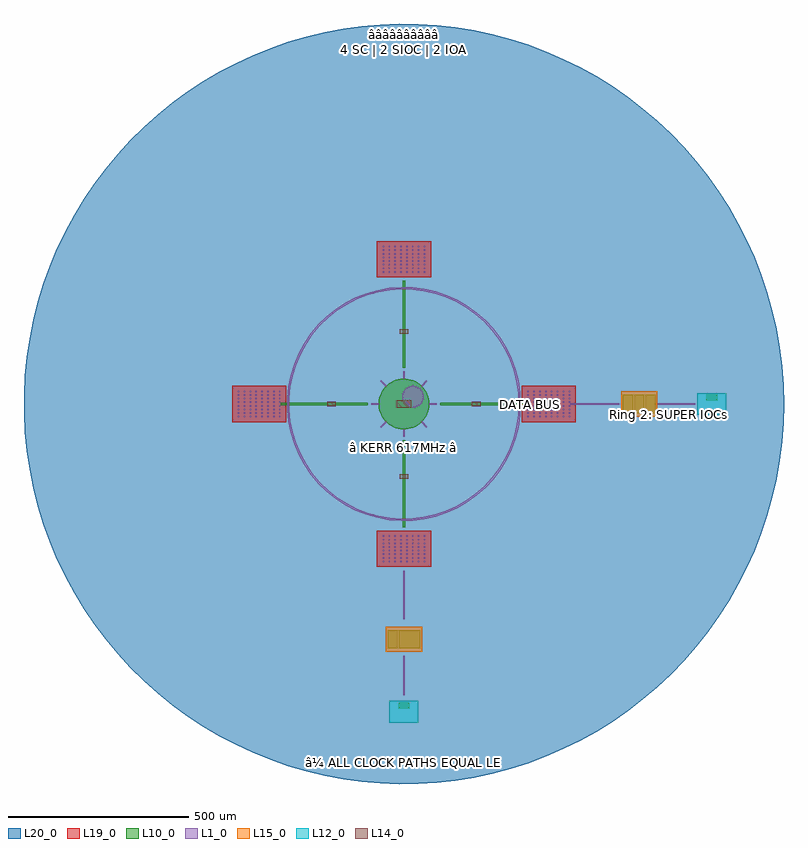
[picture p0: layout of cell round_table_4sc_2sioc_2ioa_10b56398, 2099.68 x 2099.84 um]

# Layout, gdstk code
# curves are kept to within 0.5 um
import gdstk
lib = gdstk.Library(unit=1e-6, precision=1e-09)
def R(c, l, rs):  # rectangles x0, y0, x1, y1
    for r in rs: c.add(gdstk.rectangle(r[:2], r[2:], *l))
def A(c, l, x, y, w, h, nx, ny, dx, dy):  # array of equal rectangles
    R(c, l, [(x+i*dx, y+j*dy, x+i*dx+w, y+j*dy+h) for i in range(nx) for j in range(ny)])
def P(c, l, *ps):  # polygons
    for p in ps: c.add(gdstk.Polygon(p, *l))
L1_0 = (1, 0)
L10_0 = (10, 0)
L12_0 = (12, 0)
L14_0 = (14, 0)
L15_0 = (15, 0)
L19_0 = (19, 0)
L20_0 = (20, 0)

kerr_clock_hub_bd115653 = lib.new_cell('kerr_clock_hub_bd115653')
R(kerr_clock_hub_bd115653, L1_0, [(-2,-90,2,-70), (-90,-2,-70,2), (70,-2,90,2), (-2,70,2,90)])
P(kerr_clock_hub_bd115653, L1_0, [(24.252,-9.991),(18.324,-9.248),(12.661,-7.345),(7.488,-4.358),(3.008,-0.405),(-0.599,4.357),(-3.191,9.739),(-4.963,18.505),(-4.665,24.471),(-3.191,30.261),(-0.599,35.643),(3.008,40.405),(7.488,44.358),(12.661,47.345),(18.324,49.248),(24.252,49.991),(30.209,49.544),(35.96,47.926),(41.276,45.201),(45.947,41.476),(49.787,36.9),(52.644,31.653),(54.405,25.944),(55,20),(54.405,14.056),(52.644,8.347),(49.787,3.1),(45.947,-1.476),(41.276,-5.201),(35.96,-7.926),(30.209,-9.544)],
  [(50.912,48.083),(48.083,50.912),(62.225,65.054),(65.054,62.225)],
  [(-50.912,48.083),(-65.054,62.225),(-62.225,65.054),(-48.083,50.912)],
  [(-62.225,-65.054),(-65.054,-62.225),(-50.912,-48.083),(-48.083,-50.912)],
  [(62.225,-65.054),(48.083,-50.912),(50.912,-48.083),(65.054,-62.225)])
P(kerr_clock_hub_bd115653, L10_0, [(-1.745,-69.978),(-8.704,-69.457),(-22.294,-66.355),(-35,-60.622),(-46.318,-52.485),(-55.799,-42.266),(-63.068,-30.372),(-67.835,-17.273),(-69.913,-3.489),(-69.218,10.433),(-65.778,23.941),(-59.73,36.5),(-51.314,47.612),(-40.862,56.836),(-28.79,63.805),(-15.576,68.245),(-1.745,69.978),(12.155,68.937),(25.574,65.161),(37.978,58.802),(48.877,50.111),(57.837,39.432),(64.503,27.19),(68.612,13.87),(70,0),(68.612,-13.87),(64.503,-27.19),(57.837,-39.432),(48.877,-50.111),(37.978,-58.802),(25.574,-65.161),(12.155,-68.937)])
R(kerr_clock_hub_bd115653, L14_0, [(-20,-10,20,10)])
P(kerr_clock_hub_bd115653, L20_0, [(-2.493,-99.969),(-22.252,-97.493),(-41.129,-91.151),(-50,-86.603),(-66.169,-74.978),(-79.713,-60.38),(-90.097,-43.388),(-96.908,-24.676),(-99.876,-4.985),(-98.883,14.904),(-93.969,34.202),(-85.329,52.144),(-73.305,68.017),(-58.374,81.194),(-41.129,91.151),(-22.252,97.493),(-2.493,99.969),(17.365,98.481),(36.534,93.087),(54.255,84.003),(69.824,71.587),(82.624,56.332),(92.148,38.843),(98.017,19.815),(100,0),(98.017,-19.815),(92.148,-38.843),(82.624,-56.332),(69.824,-71.587),(54.255,-84.003),(36.534,-93.087),(17.365,-98.481)])
kerr_clock_hub_bd115653.add(gdstk.Label('KERR', (25,20), layer=100, texttype=0))
kerr_clock_hub_bd115653.add(gdstk.Label('617 MHz', (0,-40), layer=100, texttype=0))
kerr_clock_hub_bd115653.add(gdstk.Label('CLOCK HUB', (0,85), layer=100, texttype=0))

sc_module_0_3802ffc2 = lib.new_cell('sc_module_0_3802ffc2')
A(sc_module_0_3802ffc2, L1_0, 16.125, 13, 4, 4, 8, 8, 16.25, 10)
R(sc_module_0_3802ffc2, L19_0, [(0,0,150,100)])
sc_module_0_3802ffc2.add(gdstk.Label('SC-0', (75,50), layer=100, texttype=0))
sc_module_0_3802ffc2.add(gdstk.Label('243Ã\x97243', (75,35), layer=100, texttype=0))

sc_module_1_ebd3c1e9 = lib.new_cell('sc_module_1_ebd3c1e9')
A(sc_module_1_ebd3c1e9, L1_0, 16.125, 13, 4, 4, 8, 8, 16.25, 10)
R(sc_module_1_ebd3c1e9, L19_0, [(0,0,150,100)])
sc_module_1_ebd3c1e9.add(gdstk.Label('SC-1', (75,50), layer=100, texttype=0))
sc_module_1_ebd3c1e9.add(gdstk.Label('243Ã\x97243', (75,35), layer=100, texttype=0))

sc_module_2_5c22a000 = lib.new_cell('sc_module_2_5c22a000')
A(sc_module_2_5c22a000, L1_0, 16.125, 13, 4, 4, 8, 8, 16.25, 10)
R(sc_module_2_5c22a000, L19_0, [(0,0,150,100)])
sc_module_2_5c22a000.add(gdstk.Label('SC-2', (75,50), layer=100, texttype=0))
sc_module_2_5c22a000.add(gdstk.Label('243Ã\x97243', (75,35), layer=100, texttype=0))

sc_module_3_e76d4291 = lib.new_cell('sc_module_3_e76d4291')
A(sc_module_3_e76d4291, L1_0, 16.125, 13, 4, 4, 8, 8, 16.25, 10)
R(sc_module_3_e76d4291, L19_0, [(0,0,150,100)])
sc_module_3_e76d4291.add(gdstk.Label('SC-3', (75,50), layer=100, texttype=0))
sc_module_3_e76d4291.add(gdstk.Label('243Ã\x97243', (75,35), layer=100, texttype=0))

sioc_slot_0_f4facfb1 = lib.new_cell('sioc_slot_0_f4facfb1')
R(sioc_slot_0_f4facfb1, L10_0, [(5,10,33.333,60), (35.833,10,64.167,60), (66.667,10,95,60)])
R(sioc_slot_0_f4facfb1, L15_0, [(0,0,100,70)])
sioc_slot_0_f4facfb1.add(gdstk.Label('WL', (19.167,35), layer=100, texttype=0))
sioc_slot_0_f4facfb1.add(gdstk.Label('AS', (50,35), layer=100, texttype=0))
sioc_slot_0_f4facfb1.add(gdstk.Label('RC', (80.833,35), layer=100, texttype=0))
sioc_slot_0_f4facfb1.add(gdstk.Label('SIOC-0', (50,65), layer=100, texttype=0))

sioc_slot_1_134355f9 = lib.new_cell('sioc_slot_1_134355f9')
R(sioc_slot_1_134355f9, L10_0, [(5,10,33.333,60), (35.833,10,64.167,60), (66.667,10,95,60)])
R(sioc_slot_1_134355f9, L15_0, [(0,0,100,70)])
sioc_slot_1_134355f9.add(gdstk.Label('WL', (19.167,35), layer=100, texttype=0))
sioc_slot_1_134355f9.add(gdstk.Label('AS', (50,35), layer=100, texttype=0))
sioc_slot_1_134355f9.add(gdstk.Label('RC', (80.833,35), layer=100, texttype=0))
sioc_slot_1_134355f9.add(gdstk.Label('SIOC-1', (50,65), layer=100, texttype=0))

ioa_slot_0_4a160fc4 = lib.new_cell('ioa_slot_0_4a160fc4')
R(ioa_slot_0_4a160fc4, L10_0, [(25,40,55,55)])
R(ioa_slot_0_4a160fc4, L12_0, [(0,0,80,60)])
ioa_slot_0_4a160fc4.add(gdstk.Label('IOA-0', (40,20), layer=100, texttype=0))
ioa_slot_0_4a160fc4.add(gdstk.Label('MODULAR', (40,10), layer=100, texttype=0))

ioa_slot_1_5a060a56 = lib.new_cell('ioa_slot_1_5a060a56')
R(ioa_slot_1_5a060a56, L10_0, [(25,40,55,55)])
R(ioa_slot_1_5a060a56, L12_0, [(0,0,80,60)])
ioa_slot_1_5a060a56.add(gdstk.Label('IOA-1', (40,20), layer=100, texttype=0))
ioa_slot_1_5a060a56.add(gdstk.Label('MODULAR', (40,10), layer=100, texttype=0))

round_table_4sc_2sioc_2i = lib.new_cell('round_table_4sc_2sioc_2ioa_10b56398')
R(round_table_4sc_2sioc_2i, L1_0, [(1048,245,1052,355), (1048,455,1052,590), (1510,1048,1645,1052), (1745,1048,1855,1052)])
P(round_table_4sc_2sioc_2i, L1_0, [(1367,1050),(1365.425,1081.563),(1371.395,1082.16),(1373,1050)],
  [(1365.425,1081.563),(1360.715,1112.812),(1366.596,1114.001),(1371.395,1082.16)],
  [(1360.715,1112.812),(1352.917,1143.437),(1358.65,1145.206),(1366.596,1114.001)],
  [(1352.917,1143.437),(1342.108,1173.134),(1347.637,1175.464),(1358.65,1145.206)],
  [(1342.108,1173.134),(1328.396,1201.607),(1333.666,1204.476),(1347.637,1175.464)],
  [(1328.396,1201.607),(1311.918,1228.572),(1316.875,1231.952),(1333.666,1204.476)],
  [(1311.918,1228.572),(1292.836,1253.764),(1297.432,1257.62),(1316.875,1231.952)],
  [(1292.836,1253.764),(1271.341,1276.93),(1275.53,1281.225),(1297.432,1257.62)],
  [(1271.341,1276.93),(1247.646,1297.841),(1251.387,1302.532),(1275.53,1281.225)],
  [(1247.646,1297.841),(1221.987,1316.288),(1225.242,1321.328),(1251.387,1302.532)],
  [(1221.987,1316.288),(1194.619,1332.089),(1197.356,1337.429),(1225.242,1321.328)],
  [(1194.619,1332.089),(1165.813,1345.087),(1168.005,1350.672),(1197.356,1337.429)],
  [(1165.813,1345.087),(1135.856,1355.152),(1137.481,1360.928),(1168.005,1350.672)],
  [(1135.856,1355.152),(1105.046,1362.184),(1106.088,1368.093),(1137.481,1360.928)],
  [(1105.046,1362.184),(1073.689,1366.114),(1074.138,1372.097),(1106.088,1368.093)],
  [(1073.689,1366.114),(1042.097,1366.901),(1041.947,1372.9),(1074.138,1372.097)],
  [(1010.583,1364.54),(1009.837,1370.493),(1041.947,1372.9),(1042.097,1366.901)],
  [(979.461,1359.052),(978.126,1364.902),(1009.837,1370.493),(1010.583,1364.54)],
  [(949.04,1350.493),(947.129,1356.181),(978.126,1364.902),(979.461,1359.052)],
  [(919.622,1338.947),(917.154,1344.416),(947.129,1356.181),(949.04,1350.493)],
  [(891.5,1324.53),(888.5,1329.726),(917.154,1344.416),(919.622,1338.947)],
  [(864.953,1307.384),(861.451,1312.256),(888.5,1329.726),(891.5,1324.53)],
  [(840.246,1287.681),(836.275,1292.179),(861.451,1312.256),(864.953,1307.384)],
  [(817.623,1265.615),(813.224,1269.696),(836.275,1292.179),(840.246,1287.681)],
  [(797.309,1241.406),(792.526,1245.029),(813.224,1269.696),(817.623,1265.615)],
  [(779.507,1215.295),(774.387,1218.424),(792.526,1245.029),(797.309,1241.406)],
  [(764.393,1187.541),(758.987,1190.144),(774.387,1218.424),(779.507,1215.295)],
  [(752.117,1158.42),(746.479,1160.473),(758.987,1190.144),(764.393,1187.541)],
  [(742.803,1128.222),(736.988,1129.703),(746.479,1160.473),(752.117,1158.42)],
  [(736.541,1097.246),(730.608,1098.141),(736.988,1129.703),(742.803,1128.222)],
  [(733.394,1065.801),(727.402,1066.1),(730.608,1098.141),(736.541,1097.246)],
  [(727.402,1033.9),(727.402,1066.1),(733.394,1065.801),(733.394,1034.199)],
  [(730.608,1001.859),(727.402,1033.9),(733.394,1034.199),(736.541,1002.754)],
  [(736.988,970.297),(730.608,1001.859),(736.541,1002.754),(742.803,971.778)],
  [(746.479,939.527),(736.988,970.297),(742.803,971.778),(752.117,941.58)],
  [(758.987,909.856),(746.479,939.527),(752.117,941.58),(764.393,912.459)],
  [(774.387,881.576),(758.987,909.856),(764.393,912.459),(779.507,884.705)],
  [(792.526,854.971),(774.387,881.576),(779.507,884.705),(797.309,858.594)],
  [(813.224,830.304),(792.526,854.971),(797.309,858.594),(817.623,834.385)],
  [(836.275,807.821),(813.224,830.304),(817.623,834.385),(840.246,812.319)],
  [(861.451,787.744),(836.275,807.821),(840.246,812.319),(864.953,792.616)],
  [(888.5,770.274),(861.451,787.744),(864.953,792.616),(891.5,775.47)],
  [(917.154,755.584),(888.5,770.274),(891.5,775.47),(919.622,761.053)],
  [(947.129,743.819),(917.154,755.584),(919.622,761.053),(949.04,749.507)],
  [(978.126,735.098),(947.129,743.819),(949.04,749.507),(979.461,740.948)],
  [(1009.837,729.507),(978.126,735.098),(979.461,740.948),(1010.583,735.46)],
  [(1041.947,727.1),(1009.837,729.507),(1010.583,735.46),(1042.097,733.099)],
  [(1041.947,727.1),(1042.097,733.099),(1073.689,733.886),(1074.138,727.903)],
  [(1074.138,727.903),(1073.689,733.886),(1105.046,737.816),(1106.088,731.907)],
  [(1106.088,731.907),(1105.046,737.816),(1135.856,744.848),(1137.481,739.072)],
  [(1137.481,739.072),(1135.856,744.848),(1165.813,754.913),(1168.005,749.328)],
  [(1168.005,749.328),(1165.813,754.913),(1194.619,767.911),(1197.356,762.571)],
  [(1197.356,762.571),(1194.619,767.911),(1221.987,783.712),(1225.242,778.672)],
  [(1225.242,778.672),(1221.987,783.712),(1247.646,802.159),(1251.387,797.468)],
  [(1251.387,797.468),(1247.646,802.159),(1271.341,823.07),(1275.53,818.775)],
  [(1275.53,818.775),(1271.341,823.07),(1292.836,846.236),(1297.432,842.38)],
  [(1297.432,842.38),(1292.836,846.236),(1311.918,871.428),(1316.875,868.048)],
  [(1316.875,868.048),(1311.918,871.428),(1328.396,898.393),(1333.666,895.524)],
  [(1333.666,895.524),(1328.396,898.393),(1342.108,926.866),(1347.637,924.536)],
  [(1347.637,924.536),(1342.108,926.866),(1352.917,956.563),(1358.65,954.794)],
  [(1358.65,954.794),(1352.917,956.563),(1360.715,987.188),(1366.596,985.999)],
  [(1366.596,985.999),(1360.715,987.188),(1365.425,1018.437),(1371.395,1017.84)],
  [(1371.395,1017.84),(1365.425,1018.437),(1367,1050),(1373,1050)])
R(round_table_4sc_2sioc_2i, L10_0, [(1047,710,1053,950), (710,1047,950,1053), (1150,1047,1390,1053), (1047,1150,1053,1390)])
R(round_table_4sc_2sioc_2i, L14_0, [(1038,844,1062,856), (838,1044,862,1056), (1238,1044,1262,1056), (1038,1244,1062,1256)])
P(round_table_4sc_2sioc_2i, L20_0, [(1037.013,0.08),(985.107,2.007),(933.359,6.499),(881.897,13.544),(830.846,23.125),(780.331,35.22),(730.477,49.798),(681.404,66.823),(633.233,86.255),(586.082,108.044),(540.067,132.139),(495.299,158.481),(451.889,187.003),(409.942,217.638),(369.562,250.31),(330.847,284.939),(293.892,321.44),(258.787,359.723),(225.618,399.696),(194.467,441.261),(165.409,484.315),(138.517,528.753),(113.854,574.467),(91.483,621.345),(71.457,669.272),(53.826,718.13),(38.633,767.801),(25.914,818.162),(15.702,869.091),(8.021,920.462),(2.89,972.15),(0.321,1024.029),(0.321,1075.971),(2.89,1127.85),(8.021,1179.538),(15.702,1230.909),(25.914,1281.838),(38.633,1332.199),(53.826,1381.87),(71.457,1430.728),(91.483,1478.655),(113.854,1525.533),(138.517,1571.247),(165.409,1615.685),(194.467,1658.739),(225.618,1700.304),(258.787,1740.277),(293.892,1778.56),(330.847,1815.061),(369.562,1849.69),(409.942,1882.362),(451.889,1912.997),(495.299,1941.519),(540.067,1967.861),(586.082,1991.956),(633.233,2013.745),(681.404,2033.177),(730.477,2050.202),(780.331,2064.78),(830.846,2076.875),(881.897,2086.456),(933.359,2093.501),(985.107,2097.993),(1037.013,2099.92),(1088.952,2099.277),(1140.795,2096.067),(1192.416,2090.297),(1243.688,2081.981),(1294.486,2071.14),(1344.686,2057.8),(1394.165,2041.993),(1442.802,2023.759),(1490.477,2003.142),(1537.075,1980.193),(1582.48,1954.967),(1626.582,1927.526),(1669.274,1897.939),(1710.45,1866.276),(1750.01,1832.615),(1787.856,1797.039),(1823.897,1759.636),(1858.045,1720.495),(1890.214,1679.714),(1920.328,1637.392),(1948.312,1593.632),(1974.097,1548.542),(1997.621,1502.232),(2018.826,1454.815),(2037.661,1406.408),(2054.078,1357.128),(2068.038,1307.097),(2079.507,1256.437),(2088.456,1205.271),(2094.864,1153.726),(2098.715,1101.926),(2100,1050),(2098.715,998.074),(2094.864,946.274),(2088.456,894.729),(2079.507,843.563),(2068.038,792.903),(2054.078,742.872),(2037.661,693.592),(2018.826,645.185),(1997.621,597.768),(1974.097,551.458),(1948.312,506.368),(1920.328,462.608),(1890.214,420.286),(1858.045,379.505),(1823.897,340.364),(1787.856,302.961),(1750.01,267.385),(1710.45,233.724),(1669.274,202.061),(1626.582,172.474),(1582.48,145.033),(1537.075,119.807),(1490.477,96.858),(1442.802,76.241),(1394.165,58.007),(1344.686,42.2),(1294.486,28.86),(1243.688,18.019),(1192.416,9.703),(1140.795,3.933),(1088.952,0.723)])
round_table_4sc_2sioc_2i.add(gdstk.Reference(kerr_clock_hub_bd115653, (1050,1050)))
round_table_4sc_2sioc_2i.add(gdstk.Reference(sc_module_0_3802ffc2, (975,600)))
round_table_4sc_2sioc_2i.add(gdstk.Reference(sc_module_1_ebd3c1e9, (1375,1000)))
round_table_4sc_2sioc_2i.add(gdstk.Reference(sc_module_2_5c22a000, (975,1400)))
round_table_4sc_2sioc_2i.add(gdstk.Reference(sc_module_3_e76d4291, (575,1000)))
round_table_4sc_2sioc_2i.add(gdstk.Reference(sioc_slot_0_f4facfb1, (1000,365)))
round_table_4sc_2sioc_2i.add(gdstk.Reference(sioc_slot_1_134355f9, (1650,1015)))
round_table_4sc_2sioc_2i.add(gdstk.Reference(ioa_slot_0_4a160fc4, (1010,170)))
round_table_4sc_2sioc_2i.add(gdstk.Reference(ioa_slot_1_5a060a56, (1860,1020)))
round_table_4sc_2sioc_2i.add(gdstk.Label('â\x98\x85 KERR 617MHz â\x98\x85', (1050,930), layer=100, texttype=0))
round_table_4sc_2sioc_2i.add(gdstk.Label('MASTER CLOCK', (1050,910), layer=100, texttype=0))
round_table_4sc_2sioc_2i.add(gdstk.Label('DATA BUS', (1400,1050), layer=100, texttype=0))
round_table_4sc_2sioc_2i.add(gdstk.Label('â\x95\x90â\x95\x90â\x95\x90â\x95\x90â\x95\x90â\x95\x90â\x95\x90â\x95\x90â\x95\x90â\x95\x90â\x95\x90â\x95\x90â\x95\x90â\x95\x90â\x95\x90â\x95\x90â\x95\x90â\x95\x90â\x95\x90â\x95\x90â\x95\x90â\x95\x90â\x95\x90â\x95\x90â\x95\x90â\x95\x90â\x95\x90â\x95\x90â\x95\x90â\x95\x90â\x95\x90â\x95\x90â\x95\x90â\x95\x90â\x95\x90â\x95\x90â\x95\x90â\x95\x90â\x95\x90â\x95\x90â\x95\x90â\x95\x90â\x95\x90â\x95\x90â\x95\x90â\x95\x90â\x95\x90â\x95\x90â\x95\x90â\x95\x90â\x95\x90', (1050,2070), layer=100, texttype=0))
round_table_4sc_2sioc_2i.add(gdstk.Label('ROUND TABLE BACKPLANE - OPTICAL SUPERCOMPUTER', (1050,2050), layer=100, texttype=0))
round_table_4sc_2sioc_2i.add(gdstk.Label('4 SC | 2 SIOC | 2 IOA', (1050,2030), layer=100, texttype=0))
round_table_4sc_2sioc_2i.add(gdstk.Label('â\x95\x90â\x95\x90â\x95\x90â\x95\x90â\x95\x90â\x95\x90â\x95\x90â\x95\x90â\x95\x90â\x95\x90â\x95\x90â\x95\x90â\x95\x90â\x95\x90â\x95\x90â\x95\x90â\x95\x90â\x95\x90â\x95\x90â\x95\x90â\x95\x90â\x95\x90â\x95\x90â\x95\x90â\x95\x90â\x95\x90â\x95\x90â\x95\x90â\x95\x90â\x95\x90â\x95\x90â\x95\x90â\x95\x90â\x95\x90â\x95\x90â\x95\x90â\x95\x90â\x95\x90â\x95\x90â\x95\x90â\x95\x90â\x95\x90â\x95\x90â\x95\x90â\x95\x90â\x95\x90â\x95\x90â\x95\x90â\x95\x90â\x95\x90â\x95\x90', (1050,2010), layer=100, texttype=0))
round_table_4sc_2sioc_2i.add(gdstk.Label('Ring 1: SUPERCOMPUTERS', (1550,1050), layer=100, texttype=0))
round_table_4sc_2sioc_2i.add(gdstk.Label('Ring 2: SUPER IOCs', (1780,1020), layer=100, texttype=0))
round_table_4sc_2sioc_2i.add(gdstk.Label('Ring 3: IOAs', (1960,990), layer=100, texttype=0))
round_table_4sc_2sioc_2i.add(gdstk.Label('â\x96¼ ALL CLOCK PATHS EQUAL LENGTH â\x96¼', (1050,60), layer=100, texttype=0))

lib.write_gds('round_table_4sc_2sioc_2ioa_10b56398.gds')
